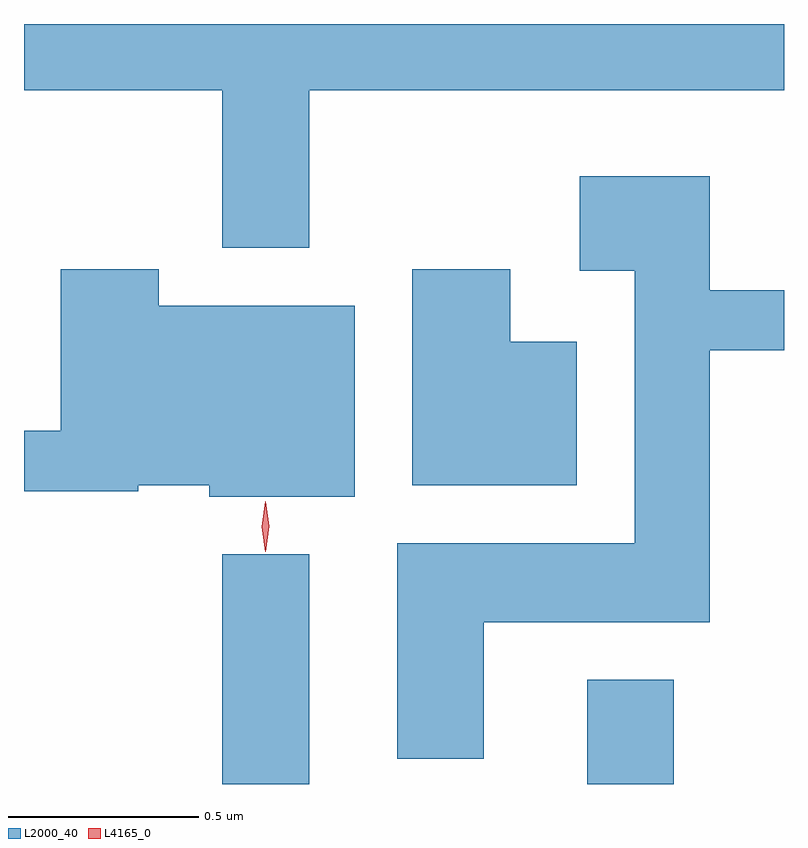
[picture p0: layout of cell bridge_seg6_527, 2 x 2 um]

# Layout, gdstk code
import gdstk
lib = gdstk.Library(unit=1e-6, precision=1e-09)
def R(c, l, rs):  # rectangles x0, y0, x1, y1
    for r in rs: c.add(gdstk.rectangle(r[:2], r[2:], *l))
def P(c, l, *ps):  # polygons
    for p in ps: c.add(gdstk.Polygon(p, *l))
L2000_40 = (2000, 40)
L4165_0 = (4165, 0)

bridge_seg6_527 = lib.new_cell('bridge_seg6_527')
R(bridge_seg6_527, L2000_40, [(1004.531,1572.63,1004.759,1573.234), (1005.491,1572.63,1005.719,1572.904)])
P(bridge_seg6_527, L2000_40, [(1004.759,1574.456),(1006.009,1574.456),(1006.009,1574.63),(1004.009,1574.63),(1004.009,1574.456),(1004.531,1574.456),(1004.531,1574.041),(1004.759,1574.041)],
  [(1005.219,1573.056),(1005.814,1573.056),(1005.814,1573.771),(1006.009,1573.771),(1006.009,1573.929),(1005.814,1573.929),(1005.814,1574.229),(1005.471,1574.229),(1005.471,1573.981),(1005.616,1573.981),(1005.616,1573.264),(1004.991,1573.264),(1004.991,1572.696),(1005.219,1572.696)],
  [(1005.464,1573.794),(1005.289,1573.794),(1005.289,1573.984),(1005.031,1573.984),(1005.031,1573.416),(1005.464,1573.416)],
  [(1004.879,1573.889),(1004.364,1573.889),(1004.364,1573.984),(1004.106,1573.984),(1004.106,1573.559),(1004.009,1573.559),(1004.009,1573.401),(1004.31,1573.401),(1004.31,1573.416),(1004.496,1573.416),(1004.496,1573.386),(1004.879,1573.386)])
P(bridge_seg6_527, L4165_0, [(1004.644,1573.241),(1004.635,1573.307),(1004.644,1573.373),(1004.644,1573.374),(1004.645,1573.373),(1004.654,1573.308),(1004.645,1573.241),(1004.645,1573.241)])

lib.write_gds('bridge_seg6_527.gds')
